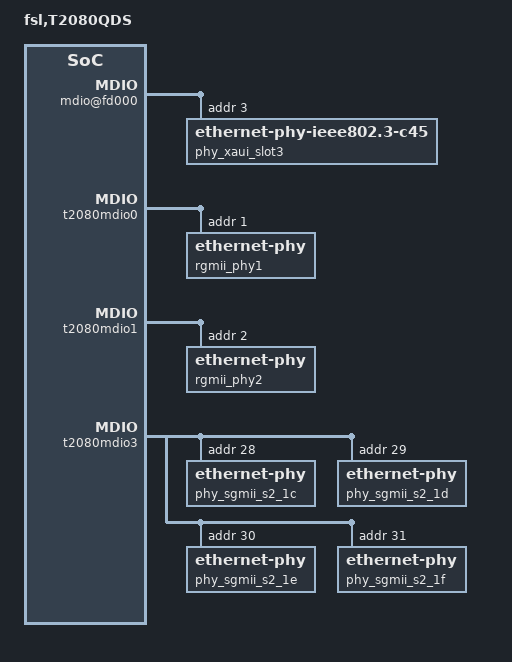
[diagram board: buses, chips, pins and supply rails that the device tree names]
/*
 * T2080QDS Device Tree Source
 *
 * Copyright 2013 - 2015 Freescale Semiconductor Inc.
 *
 * Redistribution and use in source and binary forms, with or without
 * modification, are permitted provided that the following conditions are met:
 *     * Redistributions of source code must retain the above copyright
 *	 notice, this list of conditions and the following disclaimer.
 *     * Redistributions in binary form must reproduce the above copyright
 *	 notice, this list of conditions and the following disclaimer in the
 *	 documentation and/or other materials provided with the distribution.
 *     * Neither the name of Freescale Semiconductor nor the
 *	 names of its contributors may be used to endorse or promote products
 *	 derived from this software without specific prior written permission.
 *
 *
 * ALTERNATIVELY, this software may be distributed under the terms of the
 * GNU General Public License ("GPL") as published by the Free Software
 * Foundation, either version 2 of that License or (at your option) any
 * later version.
 *
 * THIS SOFTWARE IS PROVIDED BY Freescale Semiconductor "AS IS" AND ANY
 * EXPRESS OR IMPLIED WARRANTIES, INCLUDING, BUT NOT LIMITED TO, THE IMPLIED
 * WARRANTIES OF MERCHANTABILITY AND FITNESS FOR A PARTICULAR PURPOSE ARE
 * DISCLAIMED. IN NO EVENT SHALL Freescale Semiconductor BE LIABLE FOR ANY
 * DIRECT, INDIRECT, INCIDENTAL, SPECIAL, EXEMPLARY, OR CONSEQUENTIAL DAMAGES
 * (INCLUDING, BUT NOT LIMITED TO, PROCUREMENT OF SUBSTITUTE GOODS OR SERVICES;
 * LOSS OF USE, DATA, OR PROFITS; OR BUSINESS INTERRUPTION) HOWEVER CAUSED AND
 * ON ANY THEORY OF LIABILITY, WHETHER IN CONTRACT, STRICT LIABILITY, OR TORT
 * (INCLUDING NEGLIGENCE OR OTHERWISE) ARISING IN ANY WAY OUT OF THE USE OF THIS
 * SOFTWARE, EVEN IF ADVISED OF THE POSSIBILITY OF SUCH DAMAGE.
 */

/include/ "t208xsi-pre.dtsi"
/include/ "t208xqds.dtsi"

/ {
	model = "fsl,T2080QDS";
	compatible = "fsl,T2080QDS";
	#address-cells = <2>;
	#size-cells = <2>;
	interrupt-parent = <&mpic>;

	aliases {
		emi1_slot1 = &t2080mdio2;
		emi1_slot2 = &t2080mdio3;
		emi1_slot3 = &t2080mdio4;
	};

	rio: rapidio@ffe0c0000 {
		reg = <0xf 0xfe0c0000 0 0x11000>;

		port1 {
			ranges = <0 0 0xc 0x20000000 0 0x10000000>;
		};
		port2 {
			ranges = <0 0 0xc 0x30000000 0 0x10000000>;
		};
	};
};

&soc {
	fman@400000 {
		ethernet@e0000 {
			phy-handle = <&phy_sgmii_s3_1e>;
			phy-connection-type = "xgmii";
		};

		ethernet@e2000 {
			phy-handle = <&phy_sgmii_s3_1f>;
			phy-connection-type = "xgmii";
		};

		ethernet@e4000 {
			phy-handle = <&rgmii_phy1>;
			phy-connection-type = "rgmii";
		};

		ethernet@e6000 {
			phy-handle = <&rgmii_phy2>;
			phy-connection-type = "rgmii";
		};

		ethernet@e8000 {
			phy-handle = <&phy_sgmii_s2_1e>;
			phy-connection-type = "sgmii";
		};

		ethernet@ea000 {
			phy-handle = <&phy_sgmii_s2_1d>;
			phy-connection-type = "sgmii";
		};

		ethernet@f0000 {
			phy-handle = <&phy_xaui_slot3>;
			phy-connection-type = "xgmii";
		};

		ethernet@f2000 {
			phy-handle = <&phy_sgmii_s3_1f>;
			phy-connection-type = "xgmii";
		};

		mdio@fd000 {
			phy_xaui_slot3: ethernet-phy@3 {
				compatible = "ethernet-phy-ieee802.3-c45";
				reg = <0x3>;
			};
		};
	};
};

&boardctrl {
	mdio-mux-emi1 {
		compatible = "mdio-mux-mmioreg", "mdio-mux";
		mdio-parent-bus = <&mdio0>;
		#address-cells = <1>;
		#size-cells = <0>;
		reg = <0x54 1>;
		mux-mask = <0xe0>;

		t2080mdio0: mdio@0 {
			#address-cells = <1>;
			#size-cells = <0>;
			reg = <0>;

			rgmii_phy1: ethernet-phy@1 {
				reg = <0x1>;
			};
		};

		t2080mdio1: mdio@20 {
			#address-cells = <1>;
			#size-cells = <0>;
			reg = <0x20>;

			rgmii_phy2: ethernet-phy@2 {
				reg = <0x2>;
			};
		};

		t2080mdio2: mdio@40 {
			#address-cells = <1>;
			#size-cells = <0>;
			reg = <0x40>;
			status = "disabled";

			phy_sgmii_s1_1c: ethernet-phy@1c {
				reg = <0x1c>;
			};

			phy_sgmii_s1_1d: ethernet-phy@1d {
				reg = <0x1d>;
			};

			phy_sgmii_s1_1e: ethernet-phy@1e {
				reg = <0x1e>;
			};

			phy_sgmii_s1_1f: ethernet-phy@1f {
				reg = <0x1f>;
			};
		};

		t2080mdio3: mdio@c0 {
			#address-cells = <1>;
			#size-cells = <0>;
			reg = <0xc0>;

			phy_sgmii_s2_1c: ethernet-phy@1c {
				reg = <0x1c>;
			};

			phy_sgmii_s2_1d: ethernet-phy@1d {
				reg = <0x1d>;
			};

			phy_sgmii_s2_1e: ethernet-phy@1e {
				reg = <0x1e>;
			};

			phy_sgmii_s2_1f: ethernet-phy@1f {
				reg = <0x1f>;
			};
		};

		t2080mdio4: mdio@60 {
			#address-cells = <1>;
			#size-cells = <0>;
			reg = <0x60>;
			status = "disabled";

			phy_sgmii_s3_1c: ethernet-phy@1c {
				reg = <0x1c>;
			};

			phy_sgmii_s3_1d: ethernet-phy@1d {
				reg = <0x1d>;
			};

			phy_sgmii_s3_1e: ethernet-phy@1e {
				reg = <0x1e>;
			};

			phy_sgmii_s3_1f: ethernet-phy@1f {
				reg = <0x1f>;
			};
		};
	};
};

/include/ "t2080si-post.dtsi"
